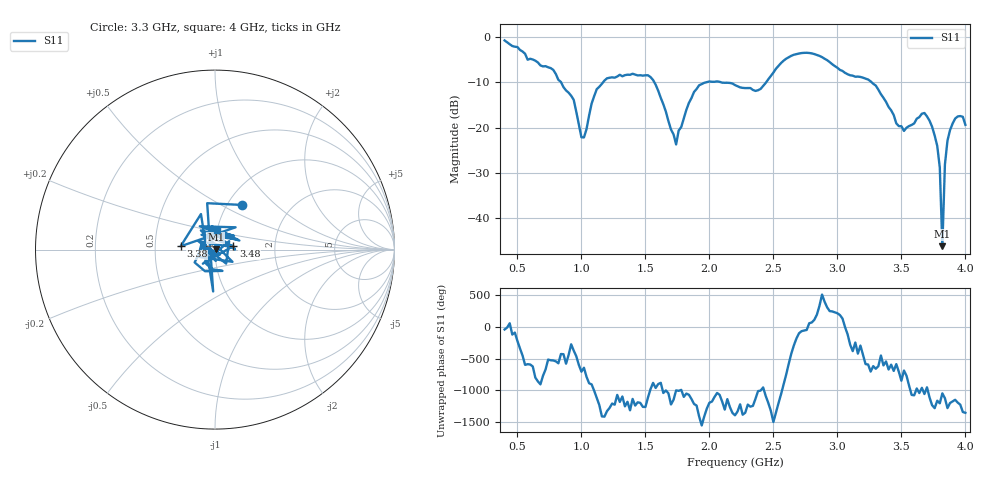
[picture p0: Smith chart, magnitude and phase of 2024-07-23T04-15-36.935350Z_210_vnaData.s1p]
!Created with skrf (http://scikit-rf.org).
# Hz S RI R 50.0
!freq ReS11 ImS11
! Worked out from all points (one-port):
!   181 points, 400 MHz to 4 GHz, reference 50 ohm
!   lowest |S11| = -46.1 dB at 3.82 GHz (marker M1), VSWR 1.01, Z = 50.4 + j0.257 ohm
!   |S11| at or under -10 dB: 1.57 GHz to 1.977 GHz (407.2 MHz wide, 23 % of centre); 2.091 GHz to 2.444 GHz (353 MHz wide, 15.6 % of centre); 3.267 GHz to end of sweep (the widest 3 of 4)
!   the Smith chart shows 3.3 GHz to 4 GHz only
!   S11 on the Smith chart (normalised r, x): 3.3 GHz: 1.17, +0.63; 3.38 GHz: 0.68, +0.03; 3.48 GHz: 1.23, +0.05; 4 GHz: 1.00, +0.22
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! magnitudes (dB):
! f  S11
! 400 MHz  -0.8
! 780 MHz  -7.3
! 860 MHz  -11.1
! 940 MHz  -13.9
! 1 GHz  -22.1
! 1.02 GHz  -22.2
! 1.12 GHz  -11.5
! 1.3 GHz  -8.3
! 1.54 GHz  -8.9
! 1.74 GHz  -23.7
! 1.76 GHz  -20.6
! 1.92 GHz  -10.7
! 2.2 GHz  -10.6
! 2.38 GHz  -11.8
! 2.66 GHz  -3.9
! 3.1 GHz  -8.5
! 3.3 GHz  -10.7
! 3.38 GHz  -14.3
! 3.48 GHz  -19.7
! 3.56 GHz  -19.7
! 3.68 GHz  -16.8
! 3.76 GHz  -21.8
! 3.8 GHz  -28.8
! 3.82 GHz  -46.1
! 3.84 GHz  -28.2
! 3.86 GHz  -22.9
! 3.92 GHz  -18.0
! 4 GHz  -19.4
